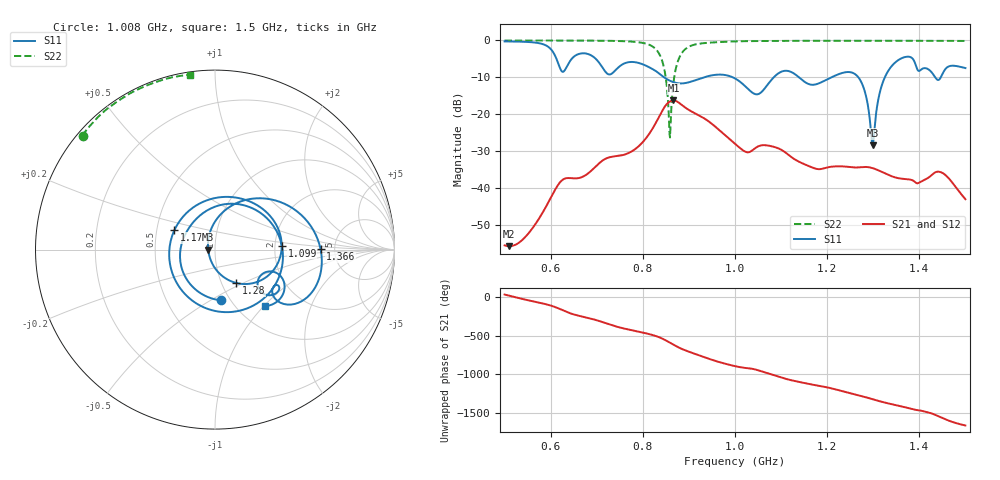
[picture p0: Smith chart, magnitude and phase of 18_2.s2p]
! TOUCHSTONE file generated by CST MICROWAVE STUDIO
! Date and time: Thu Feb 11 19:33:08 2021
! Project name: Scenario_1_Planar_Body_Tissue_Out_of_Line.cst
! Parameters = {L_HA=400; Ltissue=1000; MT=2.54; Rad_Dielectric=30; Rad_Lower=7.3; Rad_Upper=30; Wtissue=1000; a_HA=580; a_WG=246; b_HA=500; b_WG=121; c_HA=0; c_WG=187; d_feed=85; dx1=346; dy1=-51.9; h_feed=15; h_lower=18; h_upper=40; hfat=3; hgap=25; hmuscle=50; hskin=1.5}
! Header version: 2018
! Port assignment regex: !\s*Touchstone port\s*([0-9]+)\s*=\s*(CST MWS port|CST DS port)\s*([0-9]+|Zmin|Zmax)\s*\(\"(.*)\"\)(\s*mode\s*([0-9]+))?.*
! Touchstone port assignment:
! Touchstone port 1 = CST MWS port 1 ("")
! Touchstone port 2 = CST MWS port 2 ("")
# GHz S DB R 50
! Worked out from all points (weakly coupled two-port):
!   1003 points, 500 MHz to 1.5 GHz, reference 50 ohm
!   highest |S21| = -16.26 dB at 866.5 MHz (marker M1); lowest = -55.7 dB at 510 MHz (marker M2)
!   lowest |S11| = -28.4 dB at 1.299 GHz (marker M3), VSWR 1.08, Z = 46.3 + j0.025 ohm
!   |S11| at or under -10 dB: 846 MHz to 932.5 MHz (86.48 MHz wide, 9.73 % of centre); 995.2 MHz to 1.084 GHz (88.84 MHz wide, 8.55 % of centre); 1.139 GHz to 1.209 GHz (70.28 MHz wide, 5.99 % of centre) (the widest 3 of 5)
!   |S22| runs from -26.3 to 0.0 dB; largest |S21 - S12| = 3.1e-06
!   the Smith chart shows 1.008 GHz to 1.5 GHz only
!   S11 on the Smith chart (normalised r, x): 1.008 GHz: 0.90, -0.55; 1.099 GHz: 2.18, +0.11; 1.17 GHz: 0.62, +0.14; 1.28 GHz: 1.17, -0.46; 1.366 GHz: 3.86, +0.02; 1.5 GHz: 1.33, -1.02
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0.5  -0.27 -121.5  -55.52 34.3  -55.52 34.3  -0.01 151.2
0.51  -0.28 -125.7  -55.74 19.8  -55.74 19.8  -0.01 150.5
0.667  -3.51 155.3  -37.07 110.6  -37.07 110.6  -0.04 138.4
0.695  -4.66 99.0  -34.48 69.4  -34.48 69.4  -0.06 135.4
0.716  -8.02 23.8  -32.26 29.3  -32.26 29.3  -0.09 132.9
0.74  -8.15 -98.4  -31.39 -17.0  -31.39 -17.0  -0.14 129.3
0.768  -5.92 175.5  -30.56 -58.1  -30.56 -58.1  -0.26 123.6
0.834  -8.83 26.3  -20.98 -156.1  -20.98 -156.1  -3.31 84.6
0.858  -10.88 -41.4  -16.60 132.3  -16.60 132.3  -25.51 -17.3
0.8665  -11.32 -67.8  -16.26 103.5  -16.26 103.5  -11.37 -141.9
0.936  -9.87 84.6  -21.34 -63.9  -21.34 -63.9  -0.69 152.2
1  -10.30 -63.6  -28.00 -174.3  -28.00 -174.3  -0.26 140.4
1.008  -10.93 -83.7  -28.85 175.7  -28.85 175.7  -0.24 139.3
1.099  -8.57 3.3  -29.53 41.2  -29.53 41.2  -0.12 129.8
1.129  -9.05 -81.0  -32.18 -6.0  -32.18 -6.0  -0.11 127.2
1.167  -12.01 163.2  -34.40 -52.9  -34.40 -52.9  -0.10 124.2
1.17  -12.01 154.1  -34.54 -56.2  -34.54 -56.2  -0.10 124.0
1.28  -13.13 -57.5  -34.28 149.4  -34.28 149.4  -0.08 115.6
1.299  -28.40 179.6  -34.61 115.8  -34.61 115.8  -0.08 114.2
1.334  -7.96 45.4  -36.50 60.4  -36.50 60.4  -0.09 111.5
1.366  -4.61 0.2  -37.52 17.1  -37.52 17.1  -0.09 109.1
1.5  -7.49 -48.2  -43.02 136.6  -43.02 136.6  -0.14 98.0
